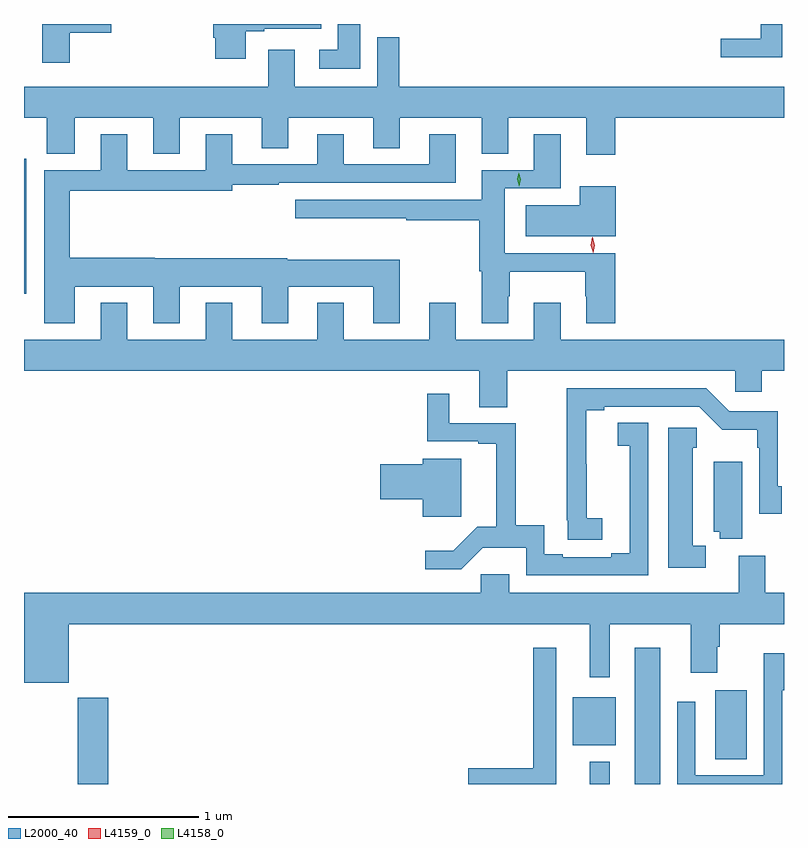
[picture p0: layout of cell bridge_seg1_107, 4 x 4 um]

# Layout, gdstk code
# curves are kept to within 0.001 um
import gdstk
lib = gdstk.Library(unit=1e-6, precision=1e-09)
def R(c, l, rs):  # rectangles x0, y0, x1, y1
    for r in rs: c.add(gdstk.rectangle(r[:2], r[2:], *l))
def P(c, l, *ps):  # polygons
    for p in ps: c.add(gdstk.Polygon(p, *l))
L2000_40 = (2000, 40)
L4158_0 = (4158, 0)
L4159_0 = (4159, 0)

bridge_seg1_107 = lib.new_cell('bridge_seg1_107')
R(bridge_seg1_107, L2000_40, [(131.128,506.934,131.288,507.388), (133.823,506.934,133.927,507.052), (134.06,506.934,134.194,507.652), (134.483,507.064,134.65,507.427), (133.733,507.137,133.96,507.391), (130.845,509.514,130.857,510.224)])
P(bridge_seg1_107, L2000_40, [(132.616,510.934),(132.497,510.934),(132.497,510.799),(132.399,510.799),(132.399,510.698),(132.616,510.698)],
  [(132.013,510.897),(132.109,510.897),(132.109,510.909),(132.409,510.909),(132.409,510.934),(131.84,510.934),(131.84,510.862),(131.852,510.862),(131.852,510.75),(132.013,510.75)],
  [(134.835,510.934),(134.723,510.934),(134.723,510.856),(134.511,510.856),(134.511,510.758),(134.835,510.758)],
  [(131.087,510.887),(131.305,510.887),(131.305,510.934),(130.94,510.934),(130.94,510.729),(131.087,510.729)],
  [(133.958,510.44),(134.845,510.44),(134.845,510.604),(132.821,510.604),(132.821,510.865),(132.705,510.865),(132.705,510.604),(132.271,510.604),(132.271,510.799),(132.131,510.799),(132.131,510.604),(130.845,510.604),(130.845,510.44),(130.966,510.44),(130.966,510.25),(131.113,510.25),(131.113,510.44),(131.525,510.44),(131.525,510.25),(131.665,510.25),(131.665,510.44),(132.095,510.44),(132.095,510.28),(132.235,510.28),(132.235,510.44),(132.683,510.44),(132.683,510.28),(132.823,510.28),(132.823,510.44),(133.253,510.44),(133.253,510.25),(133.393,510.25),(133.393,510.44),(133.805,510.44),(133.805,510.246),(133.958,510.246)],
  [(133.393,509.502),(133.401,509.502),(133.401,509.63),(133.798,509.63),(133.798,509.502),(133.805,509.502),(133.805,509.358),(133.958,509.358),(133.958,509.727),(133.375,509.727),(133.375,510.069),(133.669,510.069),(133.669,510.355),(133.529,510.355),(133.529,510.165),(133.253,510.165),(133.253,510.009),(132.273,510.009),(132.273,509.911),(132.857,509.911),(132.857,509.901),(133.241,509.901),(133.241,509.634),(133.253,509.634),(133.253,509.358),(133.393,509.358)],
  [(131.113,509.552),(131.525,509.552),(131.525,509.358),(131.665,509.358),(131.665,509.552),(132.095,509.552),(132.095,509.358),(132.235,509.358),(132.235,509.552),(132.683,509.552),(132.683,509.358),(132.823,509.358),(132.823,509.692),(132.231,509.692),(132.231,509.7),(131.532,509.7),(131.532,509.703),(131.087,509.703),(131.087,510.057),(131.941,510.057),(131.941,510.087),(132.185,510.087),(132.185,510.099),(133.117,510.099),(133.117,510.355),(132.977,510.355),(132.977,510.195),(132.529,510.195),(132.529,510.355),(132.389,510.355),(132.389,510.195),(131.941,510.195),(131.941,510.355),(131.801,510.355),(131.801,510.165),(131.389,510.165),(131.389,510.355),(131.249,510.355),(131.249,510.165),(130.952,510.165),(130.952,509.358),(131.113,509.358)],
  [(133.96,510.079),(133.769,510.079),(133.769,509.98),(133.485,509.98),(133.485,509.816),(133.96,509.816)],
  [(133.389,509.108),(134.589,509.108),(134.589,508.998),(134.728,508.998),(134.728,509.108),(134.845,509.108),(134.845,509.272),(133.669,509.272),(133.669,509.467),(133.529,509.467),(133.529,509.272),(133.117,509.272),(133.117,509.467),(132.977,509.467),(132.977,509.272),(132.529,509.272),(132.529,509.467),(132.389,509.467),(132.389,509.272),(131.941,509.272),(131.941,509.467),(131.801,509.467),(131.801,509.272),(131.389,509.272),(131.389,509.467),(131.249,509.467),(131.249,509.272),(130.845,509.272),(130.845,509.108),(133.241,509.108),(133.241,508.918),(133.389,508.918)],
  [(133.888,508.334),(133.806,508.334),(133.804,508.9),(133.9,508.9),(133.9,508.92),(134.4,508.92),(134.521,508.799),(134.703,508.799),(134.703,508.703),(134.715,508.703),(134.715,508.356),(134.832,508.356),(134.832,508.5),(134.811,508.5),(134.811,508.896),(134.556,508.896),(134.436,509.016),(133.702,509.016),(133.702,508.321),(133.708,508.321),(133.708,508.219),(133.888,508.219)],
  [(134.13,508.835),(133.971,508.835),(133.971,508.715),(134.032,508.715),(134.033,508.148),(133.937,508.148),(133.937,508.128),(133.681,508.128),(133.681,508.142),(133.584,508.142),(133.584,508.295),(133.433,508.295),(133.433,508.833),(133.084,508.833),(133.084,508.987),(132.967,508.987),(132.967,508.737),(133.235,508.737),(133.235,508.725),(133.331,508.725),(133.331,508.288),(133.231,508.288),(133.105,508.162),(132.957,508.162),(132.957,508.065),(133.146,508.065),(133.259,508.178),(133.488,508.178),(133.488,508.032),(134.13,508.032)],
  [(134.434,508.188),(134.365,508.188),(134.365,508.704),(134.387,508.704),(134.387,508.81),(134.237,508.81),(134.237,508.073),(134.434,508.073)],
  [(133.147,508.645),(132.944,508.645),(132.944,508.616),(132.72,508.616),(132.72,508.433),(132.944,508.433),(132.944,508.34),(133.147,508.34)],
  [(134.626,508.63),(134.474,508.63),(134.474,508.262),(134.506,508.262),(134.506,508.225),(134.626,508.225)],
  [(131.08,507.776),(133.823,507.776),(133.823,507.495),(133.927,507.495),(133.927,507.776),(134.354,507.776),(134.354,507.519),(134.494,507.519),(134.494,507.656),(134.507,507.656),(134.507,507.776),(134.845,507.776),(134.845,507.94),(134.746,507.94),(134.746,508.135),(134.606,508.135),(134.606,507.94),(133.399,507.94),(133.399,508.038),(133.248,508.038),(133.248,507.94),(130.845,507.94),(130.845,507.467),(131.08,507.467)],
  [(133.645,507.652),(133.524,507.652),(133.524,507.017),(133.182,507.017),(133.182,506.934),(133.645,506.934)],
  [(134.835,507.428),(134.845,507.428),(134.845,507.622),(134.739,507.622),(134.739,506.979),(134.379,506.979),(134.379,507.367),(134.283,507.367),(134.283,506.934),(134.835,506.934)])
P(bridge_seg1_107, L4158_0, [(133.451,510.081),(133.44,510.116),(133.449,510.152),(133.449,510.152),(133.449,510.152),(133.46,510.117),(133.452,510.081),(133.452,510.081)])
P(bridge_seg1_107, L4159_0, [(133.84,509.728),(133.84,509.729),(133.829,509.769),(133.837,509.811),(133.837,509.811),(133.838,509.811),(133.849,509.77),(133.841,509.729)])

lib.write_gds('bridge_seg1_107.gds')
